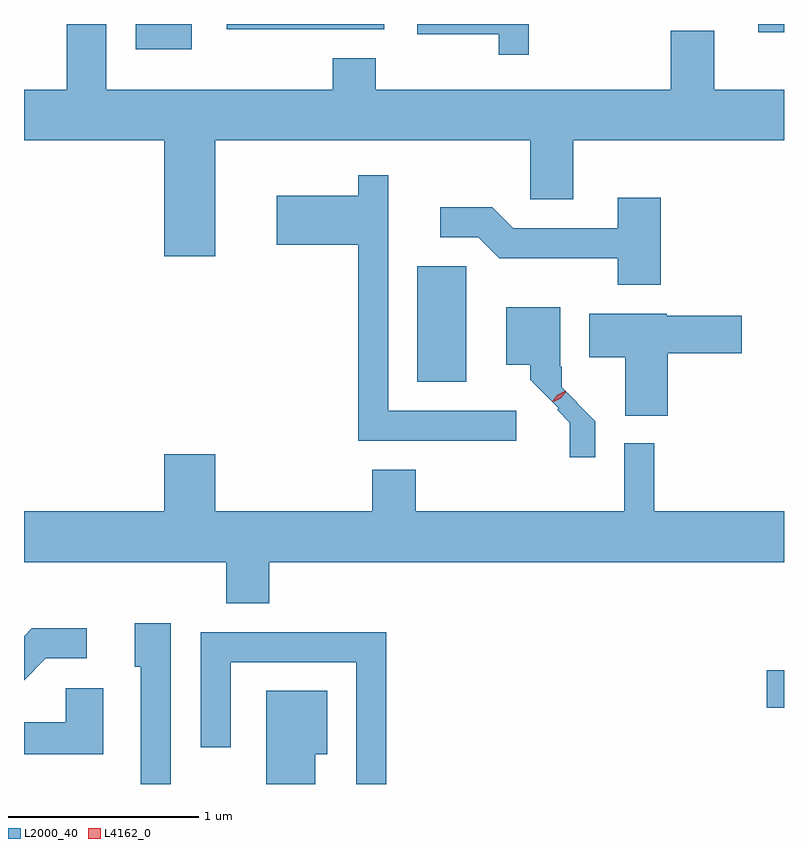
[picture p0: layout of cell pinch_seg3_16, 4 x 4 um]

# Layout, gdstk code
import gdstk
lib = gdstk.Library(unit=1e-6, precision=1e-09)
def R(c, l, rs):  # rectangles x0, y0, x1, y1
    for r in rs: c.add(gdstk.rectangle(r[:2], r[2:], *l))
def P(c, l, *ps):  # polygons
    for p in ps: c.add(gdstk.Polygon(p, *l))
L2000_40 = (2000, 40)
L4162_0 = (4162, 0)

pinch_seg3_16 = lib.new_cell('pinch_seg3_16')
R(pinch_seg3_16, L2000_40, [(857.606,1125.251,857.697,1125.449), (855.766,1126.966,856.024,1127.574), (854.286,1128.716,854.579,1128.849), (857.561,1128.806,857.697,1128.849), (854.763,1128.821,855.594,1128.849)])
P(pinch_seg3_16, L2000_40, [(856.354,1128.849),(855.766,1128.849),(855.766,1128.796),(856.196,1128.796),(856.196,1128.688),(856.354,1128.688)],
  [(854.704,1128.236),(856.361,1128.236),(856.361,1127.926),(856.589,1127.926),(856.589,1128.236),(857.697,1128.236),(857.697,1128.504),(857.329,1128.504),(857.329,1128.814),(857.101,1128.814),(857.101,1128.504),(855.549,1128.504),(855.549,1128.669),(855.321,1128.669),(855.321,1128.504),(854.129,1128.504),(854.129,1128.849),(853.921,1128.849),(853.921,1128.504),(853.697,1128.504),(853.697,1128.236),(854.436,1128.236),(854.436,1127.626),(854.704,1127.626)],
  [(856.288,1126.814),(855.614,1126.814),(855.614,1128.053),(855.456,1128.053),(855.456,1127.944),(855.026,1127.944),(855.026,1127.686),(855.456,1127.686),(855.456,1126.656),(856.288,1126.656)],
  [(857.049,1127.934),(856.821,1127.934),(856.821,1127.774),(856.272,1127.774),(856.162,1127.884),(855.888,1127.884),(855.888,1127.726),(856.089,1127.726),(856.199,1127.616),(856.821,1127.616),(856.821,1127.476),(857.049,1127.476)],
  [(856.704,1126.757),(856.608,1126.853),(856.61,1126.855),(856.528,1126.937),(856.528,1127.045),(856.519,1127.045),(856.519,1127.359),(856.236,1127.359),(856.236,1127.056),(856.361,1127.056),(856.361,1126.976),(856.511,1126.826),(856.503,1126.818),(856.57,1126.751),(856.57,1126.568),(856.704,1126.568)],
  [(857.084,1127.116),(857.474,1127.116),(857.474,1127.314),(857.08,1127.314),(857.08,1127.324),(856.671,1127.324),(856.671,1127.096),(856.861,1127.096),(856.861,1126.786),(857.084,1126.786)],
  [(854.761,1125.801),(854.989,1125.801),(854.989,1126.016),(857.697,1126.016),(857.697,1126.284),(857.014,1126.284),(857.014,1126.643),(856.856,1126.643),(856.856,1126.284),(855.759,1126.284),(855.759,1126.504),(855.531,1126.504),(855.531,1126.284),(854.704,1126.284),(854.704,1126.584),(854.436,1126.584),(854.436,1126.284),(853.697,1126.284),(853.697,1126.016),(854.761,1126.016)],
  [(854.469,1125.694),(854.281,1125.694),(854.281,1125.466),(854.311,1125.466),(854.311,1124.849),(854.469,1124.849)],
  [(853.812,1125.511),(854.028,1125.511),(854.028,1125.669),(853.739,1125.669),(853.697,1125.627),(853.697,1125.396)],
  [(855.604,1125.649),(854.626,1125.649),(854.626,1125.043),(854.784,1125.043),(854.784,1125.491),(855.446,1125.491),(855.446,1124.849),(855.604,1124.849)],
  [(854.114,1125.354),(853.916,1125.354),(853.916,1125.174),(853.697,1125.174),(853.697,1125.006),(854.114,1125.006)],
  [(855.229,1125.006),(855.294,1125.006),(855.294,1125.339),(854.971,1125.339),(854.971,1124.849),(855.229,1124.849)])
P(pinch_seg3_16, L4162_0, [(856.477,1126.862),(856.477,1126.863),(856.507,1126.898),(856.548,1126.918),(856.549,1126.918),(856.549,1126.917),(856.519,1126.882),(856.478,1126.862)],
  [(856.485,1126.862),(856.485,1126.862),(856.51,1126.894),(856.546,1126.911),(856.547,1126.911),(856.547,1126.91),(856.522,1126.878),(856.486,1126.862)])

lib.write_gds('pinch_seg3_16.gds')
